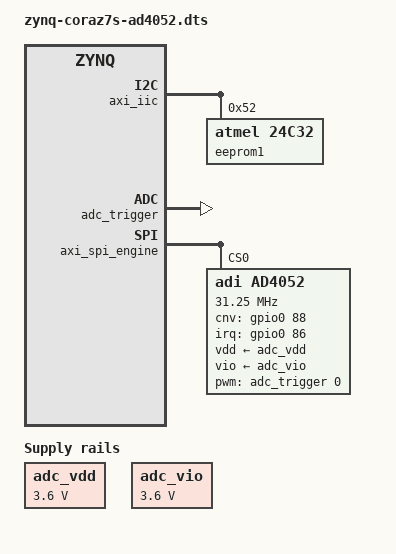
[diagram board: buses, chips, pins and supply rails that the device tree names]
// SPDX-License-Identifier: GPL-2.0
/*
 * Analog Devices AD4052
 *
 * hdl_project: <ad4052_ardz/coraz7s>
 *
 * Copyright (C) 2025 Analog Devices Inc.
 */

/dts-v1/;
#include "zynq-coraz7s.dtsi"
#include <dt-bindings/interrupt-controller/irq.h>
#include <dt-bindings/gpio/gpio.h>

/ {
	adc_vdd: regulator-vref-adc {
		compatible = "regulator-fixed";
		regulator-name = "adc-vdd";
		regulator-min-microvolt = <3600000>;
		regulator-max-microvolt = <3600000>;
		regulator-always-on;
	};

	adc_vio: regulator-vio-adc {
		compatible = "regulator-fixed";
		regulator-name = "adc_vio";
		regulator-min-microvolt = <3600000>;
		regulator-max-microvolt = <3600000>;
		regulator-always-on;
	};
};

&fpga_axi {
	axi_iic: i2c@41600000 {
		compatible = "xlnx,axi-iic-1.01.b", "xlnx,xps-iic-2.00.a";
		reg = <0x41600000 0x10000>;
		interrupt-parent = <&intc>;
		interrupts = <0 55 IRQ_TYPE_LEVEL_HIGH>;
		clocks = <&clkc 15>;
		clock-names = "s_axi_aclk";

		#size-cells = <0>;
		#address-cells = <1>;

		eeprom1: eeprom@52 {
			compatible = "atmel,24c32";
			reg = <0x52>;
		};

	};

	rx_dma: rx-dmac@44a30000 {
		compatible = "adi,axi-dmac-1.00.a";
		reg = <0x44a30000 0x1000>;
		#dma-cells = <1>;
		interrupt-parent = <&intc>;
		interrupts = <0 57 IRQ_TYPE_LEVEL_HIGH>;
		clocks = <&clkc 15>;
	};

	spi_clk: axi-clkgen@44a70000 {
		compatible = "adi,axi-clkgen-2.00.a";
		reg = <0x44a70000 0x10000>;
		#clock-cells = <0>;
		clocks = <&clkc 15>, <&clkc 15>;
		clock-names = "s_axi_aclk", "clkin1";
		clock-output-names = "spi_clk";
	};

	adc_trigger: pwm@44b00000 {
		compatible = "adi,axi-pwmgen-2.00.a";
		reg = <0x44b00000 0x1000>;
		#pwm-cells = <2>;
		clocks = <&spi_clk>;
	};

	axi_spi_engine: spi@44a00000 {
		compatible = "adi,axi-spi-engine-1.00.a";
		reg = <0x44a00000 0x1FF>;
		interrupt-parent = <&intc>;
		interrupts = <0 56 IRQ_TYPE_LEVEL_HIGH>;
		clocks = <&clkc 15>, <&spi_clk>;
		clock-names = "s_axi_aclk", "spi_clk";

		dmas = <&rx_dma 0>;
		dma-names = "offload0-rx";
		trigger-sources = <&ad4052>;

		#address-cells = <0x1>;
		#size-cells = <0x0>;

		ad4052: ad4052@0 {
			compatible = "adi,ad4052";
			reg = <0>;
			vdd-supply = <&adc_vdd>;
			vio-supply = <&adc_vio>;
			spi-max-frequency = <31250000>;

			#trigger-source-cells = <0>;
			pwms = <&adc_trigger 0 10000 0>;

			interrupt-parent = <&gpio0>;
			interrupts = <86 IRQ_TYPE_EDGE_RISING>,
				     <87 IRQ_TYPE_EDGE_FALLING>;
			interrupt-names = "gp0", "gp1";
			cnv-gpios = <&gpio0 88 GPIO_ACTIVE_HIGH>;
		};
	};
};
